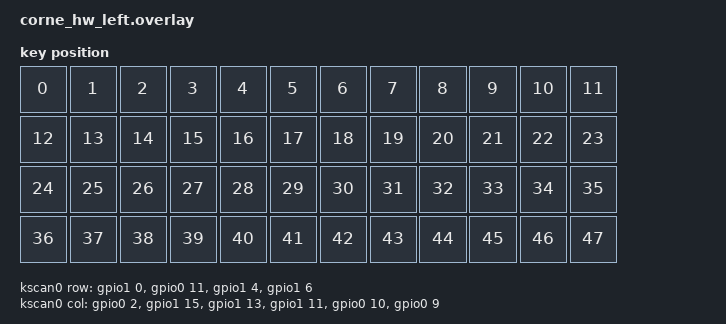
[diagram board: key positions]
/
{
    chosen {
        zmk,kscan = &kscan0;
        zmk,physical-layout = &left_layout;
    };

    kscan0: kscan {
        compatible = "zmk,kscan-gpio-matrix";
        label = "KSCAN_LEFT";

        /* Rows: P1.00, P0.11, P1.04, P1.06 */
        row-gpios = <&gpio1 0  (GPIO_ACTIVE_HIGH | GPIO_PULL_DOWN)>,
                    <&gpio0 11 (GPIO_ACTIVE_HIGH | GPIO_PULL_DOWN)>,
                    <&gpio1 4  (GPIO_ACTIVE_HIGH | GPIO_PULL_DOWN)>,
                    <&gpio1 6  (GPIO_ACTIVE_HIGH | GPIO_PULL_DOWN)>;

        /* Cols, reversed to correct a left-right mirrored matrix from
         * soldering the physical columns in diagram order while wiring
         * from the back of the plate: P0.02, P1.15, P1.13, P1.11, P0.10, P0.09 */
        col-gpios = <&gpio0 2  GPIO_ACTIVE_HIGH>,
                    <&gpio1 15 GPIO_ACTIVE_HIGH>,
                    <&gpio1 13 GPIO_ACTIVE_HIGH>,
                    <&gpio1 11 GPIO_ACTIVE_HIGH>,
                    <&gpio0 10 GPIO_ACTIVE_HIGH>,
                    <&gpio0 9  GPIO_ACTIVE_HIGH>;

        diode-direction = "col2row";
        debounce-press-ms = <5>;
        debounce-release-ms = <5>;
        wakeup-source;
    };

    /* columns = 12 (both halves combined), so this half's local columns
     * 0-5 land on keymap positions 0-5/12-17/etc, matching the left side
     * of each row in the shared corne_hw.keymap bindings. */
    matrix_transform: matrix_transform {
        compatible = "zmk,matrix-transform";
        columns = <12>;
        rows = <4>;
        map = <0  1  2  3  4  5   6  7  8  9  10 11
               12 13 14 15 16 17  18 19 20 21 22 23
               24 25 26 27 28 29  30 31 32 33 34 35
               36 37 38 39 40 41  42 43 44 45 46 47>;
    };

    key_physical_attrs: key_physical_attrs {
        compatible = "zmk,key-physical-attrs";
        #key-cells = <7>;
    };

    /* Describes all 48 combined keymap positions (both halves) so ZMK
     * Studio, running as the central (left) side, can display/remap the
     * whole keyboard. Plain flat grid, not physically accurate stagger;
     * the 6 unwired thumb slots (&none in the keymap) are included too
     * since keys[i] must align 1:1 with keymap position i. */
    left_layout: physical_layout {
        compatible = "zmk,physical-layout";
        display-name = "Corne HW";
        transform = <&matrix_transform>;
        kscan = <&kscan0>;
        keys  //                       w    h    x    y    r   rx   ry
            = <&key_physical_attrs   100  100    0    0    0    0    0>
            , <&key_physical_attrs   100  100  100    0    0    0    0>
            , <&key_physical_attrs   100  100  200    0    0    0    0>
            , <&key_physical_attrs   100  100  300    0    0    0    0>
            , <&key_physical_attrs   100  100  400    0    0    0    0>
            , <&key_physical_attrs   100  100  500    0    0    0    0>
            , <&key_physical_attrs   100  100  600    0    0    0    0>
            , <&key_physical_attrs   100  100  700    0    0    0    0>
            , <&key_physical_attrs   100  100  800    0    0    0    0>
            , <&key_physical_attrs   100  100  900    0    0    0    0>
            , <&key_physical_attrs   100  100 1000    0    0    0    0>
            , <&key_physical_attrs   100  100 1100    0    0    0    0>

            , <&key_physical_attrs   100  100    0  100    0    0    0>
            , <&key_physical_attrs   100  100  100  100    0    0    0>
            , <&key_physical_attrs   100  100  200  100    0    0    0>
            , <&key_physical_attrs   100  100  300  100    0    0    0>
            , <&key_physical_attrs   100  100  400  100    0    0    0>
            , <&key_physical_attrs   100  100  500  100    0    0    0>
            , <&key_physical_attrs   100  100  600  100    0    0    0>
            , <&key_physical_attrs   100  100  700  100    0    0    0>
            , <&key_physical_attrs   100  100  800  100    0    0    0>
            , <&key_physical_attrs   100  100  900  100    0    0    0>
            , <&key_physical_attrs   100  100 1000  100    0    0    0>
            , <&key_physical_attrs   100  100 1100  100    0    0    0>

            , <&key_physical_attrs   100  100    0  200    0    0    0>
            , <&key_physical_attrs   100  100  100  200    0    0    0>
            , <&key_physical_attrs   100  100  200  200    0    0    0>
            , <&key_physical_attrs   100  100  300  200    0    0    0>
            , <&key_physical_attrs   100  100  400  200    0    0    0>
            , <&key_physical_attrs   100  100  500  200    0    0    0>
            , <&key_physical_attrs   100  100  600  200    0    0    0>
            , <&key_physical_attrs   100  100  700  200    0    0    0>
            , <&key_physical_attrs   100  100  800  200    0    0    0>
            , <&key_physical_attrs   100  100  900  200    0    0    0>
            , <&key_physical_attrs   100  100 1000  200    0    0    0>
            , <&key_physical_attrs   100  100 1100  200    0    0    0>

            , <&key_physical_attrs   100  100    0  300    0    0    0>
            , <&key_physical_attrs   100  100  100  300    0    0    0>
            , <&key_physical_attrs   100  100  200  300    0    0    0>
            , <&key_physical_attrs   100  100  300  300    0    0    0>
            , <&key_physical_attrs   100  100  400  300    0    0    0>
            , <&key_physical_attrs   100  100  500  300    0    0    0>
            , <&key_physical_attrs   100  100  600  300    0    0    0>
            , <&key_physical_attrs   100  100  700  300    0    0    0>
            , <&key_physical_attrs   100  100  800  300    0    0    0>
            , <&key_physical_attrs   100  100  900  300    0    0    0>
            , <&key_physical_attrs   100  100 1000  300    0    0    0>
            , <&key_physical_attrs   100  100 1100  300    0    0    0>
        ;
    };
};

